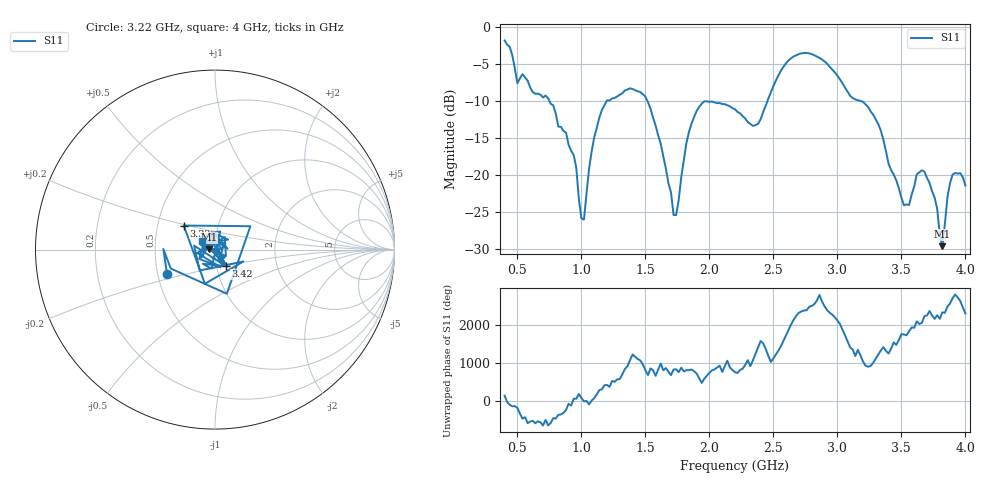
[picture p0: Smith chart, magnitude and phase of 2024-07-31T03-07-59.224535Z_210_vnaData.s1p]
!Created with skrf (http://scikit-rf.org).
# Hz S RI R 50.0
!freq ReS11 ImS11
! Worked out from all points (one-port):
!   181 points, 400 MHz to 4 GHz, reference 50 ohm
!   lowest |S11| = -29.6 dB at 3.82 GHz (marker M1), VSWR 1.07, Z = 46.8 + j0.164 ohm
!   |S11| at or under -10 dB: 749.5 MHz to 1.198 GHz (448.7 MHz wide, 46.1 % of centre); 1.515 GHz to 2.454 GHz (938.6 MHz wide, 47.3 % of centre); 3.177 GHz to end of sweep
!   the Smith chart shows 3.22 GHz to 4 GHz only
!   S11 on the Smith chart (normalised r, x): 3.22 GHz: 0.56, -0.17; 3.32 GHz: 0.68, +0.19; 3.42 GHz: 1.11, -0.20; 4 GHz: 0.86, +0.08
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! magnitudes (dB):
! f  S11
! 400 MHz  -1.8
! 500 MHz  -7.6
! 740 MHz  -9.6
! 860 MHz  -14.1
! 940 MHz  -17.3
! 1.02 GHz  -26.0
! 1.08 GHz  -16.8
! 1.14 GHz  -12.3
! 1.3 GHz  -9.2
! 1.5 GHz  -9.4
! 1.62 GHz  -15.8
! 1.72 GHz  -25.4
! 1.76 GHz  -23.4
! 1.82 GHz  -15.7
! 1.92 GHz  -10.8
! 2.2 GHz  -11.1
! 2.38 GHz  -13.1
! 2.66 GHz  -4.0
! 3.1 GHz  -9.3
! 3.22 GHz  -10.5
! 3.32 GHz  -13.2
! 3.42 GHz  -19.4
! 3.56 GHz  -24.1
! 3.68 GHz  -19.6
! 3.76 GHz  -23.1
! 3.82 GHz  -29.6
! 3.9 GHz  -20.0
! 4 GHz  -21.4
